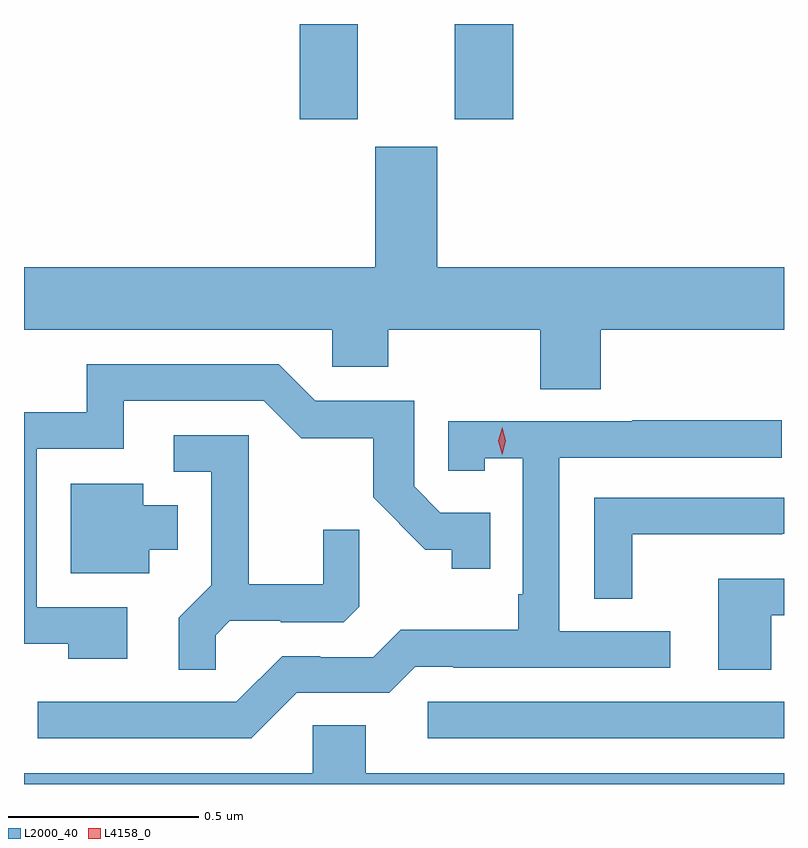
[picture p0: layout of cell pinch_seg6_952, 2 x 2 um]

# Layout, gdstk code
import gdstk
lib = gdstk.Library(unit=1e-6, precision=1e-09)
def R(c, l, rs):  # rectangles x0, y0, x1, y1
    for r in rs: c.add(gdstk.rectangle(r[:2], r[2:], *l))
def P(c, l, *ps):  # polygons
    for p in ps: c.add(gdstk.Polygon(p, *l))
L2000_40 = (2000, 40)
L4158_0 = (4158, 0)

pinch_seg6_952 = lib.new_cell('pinch_seg6_952')
R(pinch_seg6_952, L2000_40, [(200.001,954.252,200.938,954.348), (199.664,955.881,199.816,956.132), (200.072,955.881,200.225,956.132)])
P(pinch_seg6_952, L2000_40, [(200.456,955.328),(200.938,955.328),(200.938,955.492),(200.026,955.492),(200.026,955.809),(199.862,955.809),(199.862,955.492),(198.938,955.492),(198.938,955.328),(199.749,955.328),(199.749,955.23),(199.896,955.23),(199.896,955.328),(200.296,955.328),(200.296,955.171),(200.456,955.171)],
  [(199.21,954.597),(198.972,954.597),(198.972,955.014),(199.201,955.014),(199.201,955.14),(199.569,955.14),(199.668,955.042),(199.857,955.042),(199.857,954.886),(199.994,954.749),(200.064,954.749),(200.064,954.699),(200.165,954.699),(200.165,954.846),(200.034,954.846),(199.965,954.915),(199.965,955.14),(199.704,955.14),(199.608,955.236),(199.103,955.236),(199.103,955.11),(198.938,955.11),(198.938,954.501),(199.054,954.501),(199.054,954.461),(199.21,954.461)],
  [(199.656,954.372),(199.899,954.372),(199.968,954.441),(200.068,954.441),(200.068,954.438),(200.638,954.438),(200.638,954.534),(200.346,954.534),(200.346,954.99),(200.932,954.99),(200.932,955.089),(200.539,955.089),(200.539,955.086),(200.055,955.086),(200.055,954.957),(200.151,954.957),(200.151,954.989),(200.25,954.989),(200.25,954.631),(200.238,954.631),(200.238,954.538),(199.93,954.538),(199.857,954.465),(199.718,954.465),(199.718,954.468),(199.617,954.468),(199.497,954.348),(198.974,954.348),(198.974,954.252),(199.536,954.252)],
  [(199.443,954.524),(199.48,954.561),(199.614,954.561),(199.614,954.558),(199.779,954.558),(199.82,954.599),(199.82,954.801),(199.726,954.801),(199.726,954.658),(199.529,954.658),(199.529,955.05),(199.332,955.05),(199.332,954.954),(199.431,954.954),(199.431,954.655),(199.345,954.569),(199.345,954.433),(199.443,954.433)],
  [(199.267,954.749),(199.342,954.749),(199.342,954.865),(199.252,954.865),(199.252,954.922),(199.061,954.922),(199.061,954.686),(199.267,954.686)],
  [(200.538,954.789),(200.933,954.789),(200.933,954.79),(200.938,954.79),(200.938,954.885),(200.439,954.885),(200.439,954.619),(200.538,954.619)],
  [(200.905,954.576),(200.938,954.576),(200.938,954.672),(200.765,954.672),(200.765,954.433),(200.905,954.433)],
  [(200.938,954.16),(199.837,954.16),(199.837,954.287),(199.698,954.287),(199.698,954.16),(198.938,954.16),(198.938,954.132),(200.938,954.132)])
P(pinch_seg6_952, L4158_0, [(200.196,954.999),(200.196,954.999),(200.186,955.035),(200.196,955.07),(200.196,955.071),(200.196,955.07),(200.206,955.035),(200.196,954.999)])

lib.write_gds('pinch_seg6_952.gds')
